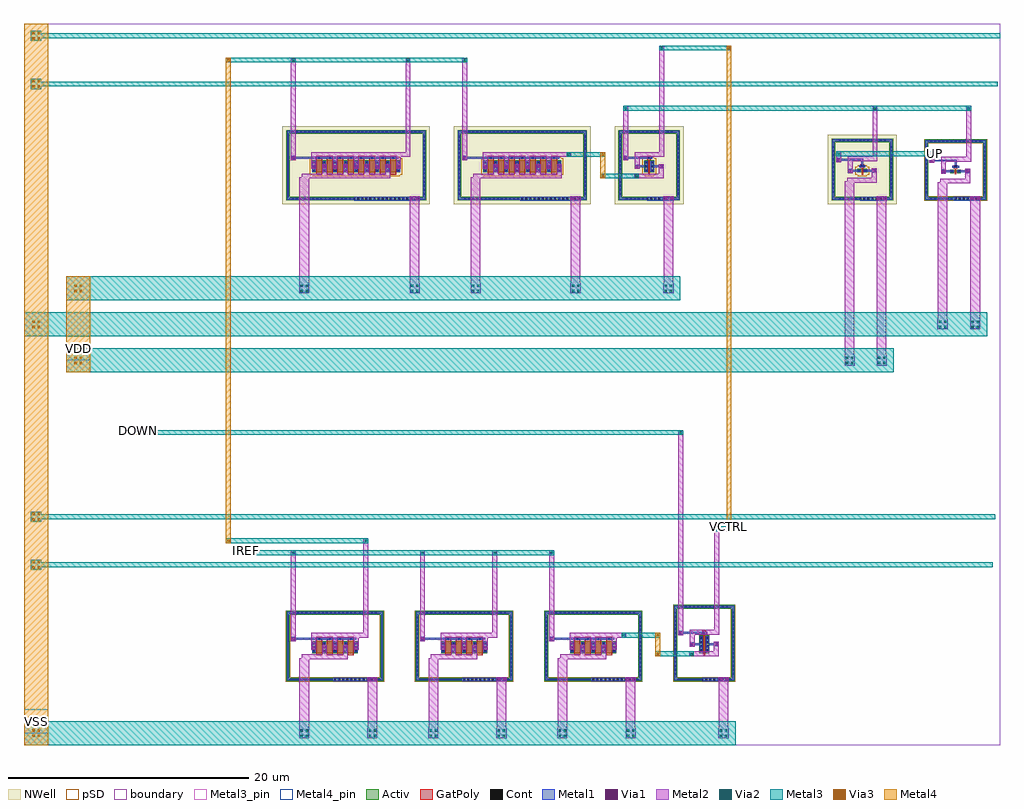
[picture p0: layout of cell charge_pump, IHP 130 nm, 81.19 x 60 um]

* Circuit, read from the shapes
.subckt charge_pump DOWN IREF UP VCTRL VDD VSS
XM1 VSS IREF cic_sg13_lv_nmos_89573d18fe2a_0/D0 VSS sg13_lv_nmos w=1u l=0.5u m=4
XM2 VSS IREF IREF VSS sg13_lv_nmos w=1u l=0.5u m=4
XM3 VSS IREF cic_sg13_lv_nmos_89573d18fe2a_2/D0 VSS sg13_lv_nmos w=1u l=0.5u m=4
XM4 cic_sg13_lv_nmos_89573d18fe2a_2/D0 DOWN VCTRL VSS sg13_lv_nmos w=1.5u l=0.13u
XM5 VSS UP cic_sg13_lv_nmos_fcc7101644fa_8/D VSS sg13_lv_nmos w=0.15u l=0.13u
XM6 VDD cic_sg13_lv_nmos_89573d18fe2a_0/D0 cic_sg13_lv_nmos_89573d18fe2a_0/D0 VDD sg13_lv_pmos w=1u l=0.5u m=8
XM7 VDD cic_sg13_lv_nmos_89573d18fe2a_0/D0 cic_sg13_lv_pmos_580c23a82176_5/D0 VDD sg13_lv_pmos w=1u l=0.5u m=7
XM8 cic_sg13_lv_pmos_580c23a82176_5/D0 cic_sg13_lv_nmos_fcc7101644fa_8/D VCTRL VDD sg13_lv_pmos w=1u l=0.13u
XM9 VDD UP cic_sg13_lv_nmos_fcc7101644fa_8/D VDD sg13_lv_pmos w=0.3u l=0.13u
.ends

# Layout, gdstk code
import gdstk
lib = gdstk.Library(unit=1e-6, precision=1e-09)
def R(c, l, rs):  # rectangles x0, y0, x1, y1
    for r in rs: c.add(gdstk.rectangle(r[:2], r[2:], *l))
def A(c, l, x, y, w, h, nx, ny, dx, dy):  # array of equal rectangles
    R(c, l, [(x+i*dx, y+j*dy, x+i*dx+w, y+j*dy+h) for i in range(nx) for j in range(ny)])
Activ = (1, 0)
GatPoly = (5, 0)
Cont = (6, 0)
Metal1 = (8, 0)
Metal2 = (10, 0)
pSD = (14, 0)
Via1 = (19, 0)
Via2 = (29, 0)
Metal3 = (30, 0)
Metal3_pin = (30, 2)
NWell = (31, 0)
Via3 = (49, 0)
Metal4 = (50, 0)
Metal4_pin = (50, 2)
boundary = (189, 4)

cic_sg13_lv_nmos_89573d1 = lib.new_cell('cic_sg13_lv_nmos_89573d18fe2a')
R(cic_sg13_lv_nmos_89573d1, Activ, [(-4.06,-2.925,4.06,-2.625), (-4.06,-2.625,-3.76,2.625), (3.76,-2.625,4.06,2.625), (-1.91,-0.595,1.91,0.405), (-4.06,2.625,4.06,2.925)])
A(cic_sg13_lv_nmos_89573d1, GatPoly, -1.57, -0.775, 0.5, 1.55, 4, 1, 0.88, 0)
A(cic_sg13_lv_nmos_89573d1, Cont, -3.48, -2.855, 0.16, 0.16, 21, 2, 0.34, 5.55)
A(cic_sg13_lv_nmos_89573d1, Cont, -3.99, -2.46, 0.16, 0.16, 1, 15, 0, 0.34)
A(cic_sg13_lv_nmos_89573d1, Cont, 3.83, -2.46, 0.16, 0.16, 1, 15, 0, 0.34)
A(cic_sg13_lv_nmos_89573d1, Cont, -1.84, -0.515, 0.16, 0.16, 5, 3, 0.88, 0.34)
A(cic_sg13_lv_nmos_89573d1, Cont, -1.4, 0.545, 0.16, 0.16, 4, 1, 0.88, 0)
A(cic_sg13_lv_nmos_89573d1, Metal1, -1.89, -0.525, 0.26, 0.86, 5, 1, 0.88, 0)
R(cic_sg13_lv_nmos_89573d1, Metal1, [(-3.99,-2.855,3.99,-2.695), (-3.99,-2.695,-3.83,2.695), (3.83,-2.695,3.99,2.695), (-1.76,0.545,1.76,0.705), (-3.99,2.695,3.99,2.855)])
R(cic_sg13_lv_nmos_89573d1, pSD, [(-4.09,-2.955,4.09,-2.595), (-4.09,-2.595,-3.73,2.595), (3.73,-2.595,4.09,2.595), (-4.09,2.595,4.09,2.955)])
R(cic_sg13_lv_nmos_89573d1, boundary, [(-3.91,-2.775,3.91,2.775)])
cic_sg13_lv_nmos_89573d1.add(gdstk.Label('B', (0,-2.775), layer=8, texttype=25))
cic_sg13_lv_nmos_89573d1.add(gdstk.Label('D0', (-1.76,-0.095), layer=8, texttype=25))
cic_sg13_lv_nmos_89573d1.add(gdstk.Label('G', (1.32,0.625), layer=8, texttype=25))
cic_sg13_lv_nmos_89573d1.add(gdstk.Label('G', (0.44,0.625), layer=8, texttype=25))
cic_sg13_lv_nmos_89573d1.add(gdstk.Label('G', (-0.44,0.625), layer=8, texttype=25))
cic_sg13_lv_nmos_89573d1.add(gdstk.Label('G', (-1.32,0.625), layer=8, texttype=25))
cic_sg13_lv_nmos_89573d1.add(gdstk.Label('S1', (-0.88,-0.095), layer=8, texttype=25))
cic_sg13_lv_nmos_89573d1.add(gdstk.Label('D2', (0,-0.095), layer=8, texttype=25))
cic_sg13_lv_nmos_89573d1.add(gdstk.Label('S3', (0.88,-0.095), layer=8, texttype=25))

cic_sg13_lv_nmos_291d3a8 = lib.new_cell('cic_sg13_lv_nmos_291d3a8e1347')
R(cic_sg13_lv_nmos_291d3a8, Activ, [(-2.555,-3.175,2.555,-2.875), (-2.555,-2.875,-2.255,2.875), (2.255,-2.875,2.555,2.875), (-0.405,-0.845,0.405,0.655), (-2.555,2.875,2.555,3.175)])
R(cic_sg13_lv_nmos_291d3a8, GatPoly, [(-0.065,-1.025,0.065,0.725), (-0.15,0.725,0.15,1.025)])
A(cic_sg13_lv_nmos_291d3a8, Cont, -1.95, -3.105, 0.16, 0.16, 12, 2, 0.34, 6.05)
A(cic_sg13_lv_nmos_291d3a8, Cont, -2.485, -2.63, 0.16, 0.16, 1, 16, 0, 0.34)
A(cic_sg13_lv_nmos_291d3a8, Cont, 2.325, -2.63, 0.16, 0.16, 1, 16, 0, 0.34)
A(cic_sg13_lv_nmos_291d3a8, Cont, -0.335, -0.685, 0.16, 0.16, 1, 4, 0, 0.34)
A(cic_sg13_lv_nmos_291d3a8, Cont, 0.175, -0.685, 0.16, 0.16, 1, 4, 0, 0.34)
R(cic_sg13_lv_nmos_291d3a8, Cont, [(-0.08,0.795,0.08,0.955)])
R(cic_sg13_lv_nmos_291d3a8, Metal1, [(-2.485,-3.105,2.485,-2.945), (-2.485,-2.945,-2.325,2.945), (2.325,-2.945,2.485,2.945), (-0.385,-0.775,-0.125,0.585), (0.125,-0.775,0.385,0.585), (-0.255,0.795,0.255,0.955), (-2.485,2.945,2.485,3.105)])
R(cic_sg13_lv_nmos_291d3a8, pSD, [(-2.585,-3.205,2.585,-2.845), (-2.585,-2.845,-2.225,2.845), (2.225,-2.845,2.585,2.845), (-2.585,2.845,2.585,3.205)])
R(cic_sg13_lv_nmos_291d3a8, boundary, [(-2.405,-3.025,2.405,3.025)])
cic_sg13_lv_nmos_291d3a8.add(gdstk.Label('B', (0,-3.025), layer=8, texttype=25))
cic_sg13_lv_nmos_291d3a8.add(gdstk.Label('D', (-0.255,-0.095), layer=8, texttype=25))
cic_sg13_lv_nmos_291d3a8.add(gdstk.Label('S', (0.255,-0.095), layer=8, texttype=25))
cic_sg13_lv_nmos_291d3a8.add(gdstk.Label('G', (0,0.875), layer=8, texttype=25))

cic_sg13_lv_pmos_d1459b2 = lib.new_cell('cic_sg13_lv_pmos_d1459b2f823a')
R(cic_sg13_lv_pmos_d1459b2, Activ, [(-5.82,-2.925,5.82,-2.625), (-5.82,-2.625,-5.52,2.625), (5.52,-2.625,5.82,2.625), (-3.67,-0.595,3.67,0.405), (-5.82,2.625,5.82,2.925)])
A(cic_sg13_lv_pmos_d1459b2, GatPoly, -3.33, -0.775, 0.5, 1.55, 8, 1, 0.88, 0)
A(cic_sg13_lv_pmos_d1459b2, Cont, -5.35, -2.855, 0.16, 0.16, 32, 2, 0.34, 5.55)
A(cic_sg13_lv_pmos_d1459b2, Cont, -5.75, -2.46, 0.16, 0.16, 1, 15, 0, 0.34)
A(cic_sg13_lv_pmos_d1459b2, Cont, 5.59, -2.46, 0.16, 0.16, 1, 15, 0, 0.34)
A(cic_sg13_lv_pmos_d1459b2, Cont, -3.6, -0.515, 0.16, 0.16, 9, 3, 0.88, 0.34)
A(cic_sg13_lv_pmos_d1459b2, Cont, -3.16, 0.545, 0.16, 0.16, 8, 1, 0.88, 0)
A(cic_sg13_lv_pmos_d1459b2, Metal1, -3.65, -0.525, 0.26, 0.86, 9, 1, 0.88, 0)
R(cic_sg13_lv_pmos_d1459b2, Metal1, [(-5.75,-2.855,5.75,-2.695), (-5.75,-2.695,-5.59,2.695), (5.59,-2.695,5.75,2.695), (-3.52,0.545,3.52,0.705), (-5.75,2.695,5.75,2.855)])
R(cic_sg13_lv_pmos_d1459b2, pSD, [(-3.63,-0.895,3.63,-0.775), (-3.85,-0.775,3.85,0.585), (-3.63,0.585,3.63,0.705)])
R(cic_sg13_lv_pmos_d1459b2, NWell, [(-6.13,-3.235,6.13,3.235)])
R(cic_sg13_lv_pmos_d1459b2, boundary, [(-5.67,-2.775,5.67,2.775)])
cic_sg13_lv_pmos_d1459b2.add(gdstk.Label('B', (0,-2.775), layer=8, texttype=25))
cic_sg13_lv_pmos_d1459b2.add(gdstk.Label('D0', (-3.52,-0.095), layer=8, texttype=25))
cic_sg13_lv_pmos_d1459b2.add(gdstk.Label('G', (3.08,0.625), layer=8, texttype=25))
cic_sg13_lv_pmos_d1459b2.add(gdstk.Label('G', (2.2,0.625), layer=8, texttype=25))
cic_sg13_lv_pmos_d1459b2.add(gdstk.Label('G', (1.32,0.625), layer=8, texttype=25))
cic_sg13_lv_pmos_d1459b2.add(gdstk.Label('G', (0.44,0.625), layer=8, texttype=25))
cic_sg13_lv_pmos_d1459b2.add(gdstk.Label('G', (-0.44,0.625), layer=8, texttype=25))
cic_sg13_lv_pmos_d1459b2.add(gdstk.Label('G', (-1.32,0.625), layer=8, texttype=25))
cic_sg13_lv_pmos_d1459b2.add(gdstk.Label('G', (-2.2,0.625), layer=8, texttype=25))
cic_sg13_lv_pmos_d1459b2.add(gdstk.Label('G', (-3.08,0.625), layer=8, texttype=25))
cic_sg13_lv_pmos_d1459b2.add(gdstk.Label('S1', (-2.64,-0.095), layer=8, texttype=25))
cic_sg13_lv_pmos_d1459b2.add(gdstk.Label('D2', (-1.76,-0.095), layer=8, texttype=25))
cic_sg13_lv_pmos_d1459b2.add(gdstk.Label('S3', (-0.88,-0.095), layer=8, texttype=25))
cic_sg13_lv_pmos_d1459b2.add(gdstk.Label('D4', (0,-0.095), layer=8, texttype=25))
cic_sg13_lv_pmos_d1459b2.add(gdstk.Label('S5', (0.88,-0.095), layer=8, texttype=25))
cic_sg13_lv_pmos_d1459b2.add(gdstk.Label('D6', (1.76,-0.095), layer=8, texttype=25))
cic_sg13_lv_pmos_d1459b2.add(gdstk.Label('S7', (2.64,-0.095), layer=8, texttype=25))

cic_sg13_lv_pmos_580c23a = lib.new_cell('cic_sg13_lv_pmos_580c23a82176')
R(cic_sg13_lv_pmos_580c23a, Activ, [(-5.38,-2.925,5.38,-2.625), (-5.38,-2.625,-5.08,2.625), (5.08,-2.625,5.38,2.625), (-3.23,-0.595,3.23,0.405), (-5.38,2.625,5.38,2.925)])
A(cic_sg13_lv_pmos_580c23a, GatPoly, -2.89, -0.775, 0.5, 1.55, 7, 1, 0.88, 0)
A(cic_sg13_lv_pmos_580c23a, Cont, -4.84, -2.855, 0.16, 0.16, 29, 2, 0.34, 5.55)
A(cic_sg13_lv_pmos_580c23a, Cont, -5.31, -2.46, 0.16, 0.16, 1, 15, 0, 0.34)
A(cic_sg13_lv_pmos_580c23a, Cont, 5.15, -2.46, 0.16, 0.16, 1, 15, 0, 0.34)
A(cic_sg13_lv_pmos_580c23a, Cont, -3.16, -0.515, 0.16, 0.16, 8, 3, 0.88, 0.34)
A(cic_sg13_lv_pmos_580c23a, Cont, -2.72, 0.545, 0.16, 0.16, 7, 1, 0.88, 0)
A(cic_sg13_lv_pmos_580c23a, Metal1, -3.21, -0.525, 0.26, 0.86, 8, 1, 0.88, 0)
R(cic_sg13_lv_pmos_580c23a, Metal1, [(-5.31,-2.855,5.31,-2.695), (-5.31,-2.695,-5.15,2.695), (5.15,-2.695,5.31,2.695), (-3.08,0.545,3.08,0.705), (-5.31,2.695,5.31,2.855)])
R(cic_sg13_lv_pmos_580c23a, pSD, [(-3.19,-0.895,3.19,-0.775), (-3.41,-0.775,3.41,0.585), (-3.19,0.585,3.19,0.705)])
R(cic_sg13_lv_pmos_580c23a, NWell, [(-5.69,-3.235,5.69,3.235)])
R(cic_sg13_lv_pmos_580c23a, boundary, [(-5.23,-2.775,5.23,2.775)])
cic_sg13_lv_pmos_580c23a.add(gdstk.Label('B', (0,-2.775), layer=8, texttype=25))
cic_sg13_lv_pmos_580c23a.add(gdstk.Label('D0', (-3.08,-0.095), layer=8, texttype=25))
cic_sg13_lv_pmos_580c23a.add(gdstk.Label('G', (2.64,0.625), layer=8, texttype=25))
cic_sg13_lv_pmos_580c23a.add(gdstk.Label('G', (1.76,0.625), layer=8, texttype=25))
cic_sg13_lv_pmos_580c23a.add(gdstk.Label('G', (0.88,0.625), layer=8, texttype=25))
cic_sg13_lv_pmos_580c23a.add(gdstk.Label('G', (0,0.625), layer=8, texttype=25))
cic_sg13_lv_pmos_580c23a.add(gdstk.Label('G', (-0.88,0.625), layer=8, texttype=25))
cic_sg13_lv_pmos_580c23a.add(gdstk.Label('G', (-1.76,0.625), layer=8, texttype=25))
cic_sg13_lv_pmos_580c23a.add(gdstk.Label('G', (-2.64,0.625), layer=8, texttype=25))
cic_sg13_lv_pmos_580c23a.add(gdstk.Label('S1', (-2.2,-0.095), layer=8, texttype=25))
cic_sg13_lv_pmos_580c23a.add(gdstk.Label('D2', (-1.32,-0.095), layer=8, texttype=25))
cic_sg13_lv_pmos_580c23a.add(gdstk.Label('S3', (-0.44,-0.095), layer=8, texttype=25))
cic_sg13_lv_pmos_580c23a.add(gdstk.Label('D4', (0.44,-0.095), layer=8, texttype=25))
cic_sg13_lv_pmos_580c23a.add(gdstk.Label('S5', (1.32,-0.095), layer=8, texttype=25))
cic_sg13_lv_pmos_580c23a.add(gdstk.Label('D6', (2.2,-0.095), layer=8, texttype=25))
cic_sg13_lv_pmos_580c23a.add(gdstk.Label('S6', (3.08,-0.095), layer=8, texttype=25))

cic_sg13_lv_pmos_4979f7b = lib.new_cell('cic_sg13_lv_pmos_4979f7b9a184')
R(cic_sg13_lv_pmos_4979f7b, Activ, [(-2.555,-2.925,2.555,-2.625), (-2.555,-2.625,-2.255,2.625), (2.255,-2.625,2.555,2.625), (-0.405,-0.595,0.405,0.405), (-2.555,2.625,2.555,2.925)])
R(cic_sg13_lv_pmos_4979f7b, GatPoly, [(-0.065,-0.775,0.065,0.475), (-0.15,0.475,0.15,0.775)])
A(cic_sg13_lv_pmos_4979f7b, Cont, -1.95, -2.855, 0.16, 0.16, 12, 2, 0.34, 5.55)
A(cic_sg13_lv_pmos_4979f7b, Cont, -2.485, -2.46, 0.16, 0.16, 1, 15, 0, 0.34)
A(cic_sg13_lv_pmos_4979f7b, Cont, 2.325, -2.46, 0.16, 0.16, 1, 15, 0, 0.34)
A(cic_sg13_lv_pmos_4979f7b, Cont, -0.335, -0.515, 0.16, 0.16, 1, 3, 0, 0.34)
A(cic_sg13_lv_pmos_4979f7b, Cont, 0.175, -0.515, 0.16, 0.16, 1, 3, 0, 0.34)
R(cic_sg13_lv_pmos_4979f7b, Cont, [(-0.08,0.545,0.08,0.705)])
R(cic_sg13_lv_pmos_4979f7b, Metal1, [(-2.485,-2.855,2.485,-2.695), (-2.485,-2.695,-2.325,2.695), (2.325,-2.695,2.485,2.695), (-0.385,-0.525,-0.125,0.335), (0.125,-0.525,0.385,0.335), (-0.255,0.545,0.255,0.705), (-2.485,2.695,2.485,2.855)])
R(cic_sg13_lv_pmos_4979f7b, pSD, [(-0.365,-0.895,0.365,-0.775), (-0.585,-0.775,0.585,0.585), (-0.365,0.585,0.365,0.705)])
R(cic_sg13_lv_pmos_4979f7b, NWell, [(-2.865,-3.235,2.865,3.235)])
R(cic_sg13_lv_pmos_4979f7b, boundary, [(-2.405,-2.775,2.405,2.775)])
cic_sg13_lv_pmos_4979f7b.add(gdstk.Label('B', (0,-2.775), layer=8, texttype=25))
cic_sg13_lv_pmos_4979f7b.add(gdstk.Label('D', (-0.255,-0.095), layer=8, texttype=25))
cic_sg13_lv_pmos_4979f7b.add(gdstk.Label('S', (0.255,-0.095), layer=8, texttype=25))
cic_sg13_lv_pmos_4979f7b.add(gdstk.Label('G', (0,0.625), layer=8, texttype=25))

cic_sg13_lv_pmos_4758ab7 = lib.new_cell('cic_sg13_lv_pmos_4758ab788aae')
R(cic_sg13_lv_pmos_4758ab7, Activ, [(-2.555,-2.575,2.555,-2.275), (-2.555,-2.275,-2.255,2.275), (2.255,-2.275,2.555,2.275), (-0.405,-0.245,0.405,0.055), (-2.555,2.275,2.555,2.575)])
R(cic_sg13_lv_pmos_4758ab7, GatPoly, [(-0.065,-0.425,0.065,0.125), (-0.15,0.125,0.15,0.425)])
A(cic_sg13_lv_pmos_4758ab7, Cont, -1.95, -2.505, 0.16, 0.16, 12, 2, 0.34, 4.85)
A(cic_sg13_lv_pmos_4758ab7, Cont, -2.485, -1.95, 0.16, 0.16, 1, 12, 0, 0.34)
A(cic_sg13_lv_pmos_4758ab7, Cont, 2.325, -1.95, 0.16, 0.16, 1, 12, 0, 0.34)
R(cic_sg13_lv_pmos_4758ab7, Cont, [(-0.335,-0.175,-0.175,-0.015), (0.175,-0.175,0.335,-0.015), (-0.08,0.195,0.08,0.355)])
R(cic_sg13_lv_pmos_4758ab7, Metal1, [(-2.485,-2.505,2.485,-2.345), (-2.485,-2.345,-2.325,2.345), (2.325,-2.345,2.485,2.345), (-0.385,-0.175,-0.125,-0.015), (0.125,-0.175,0.385,-0.015), (-0.255,0.195,0.255,0.355), (-2.485,2.345,2.485,2.505)])
R(cic_sg13_lv_pmos_4758ab7, pSD, [(-0.365,-0.545,0.365,-0.425), (-0.585,-0.425,0.585,0.235), (-0.365,0.235,0.365,0.355)])
R(cic_sg13_lv_pmos_4758ab7, NWell, [(-2.865,-2.885,2.865,2.885)])
R(cic_sg13_lv_pmos_4758ab7, boundary, [(-2.405,-2.425,2.405,2.425)])
cic_sg13_lv_pmos_4758ab7.add(gdstk.Label('B', (0,-2.425), layer=8, texttype=25))
cic_sg13_lv_pmos_4758ab7.add(gdstk.Label('D', (-0.255,-0.095), layer=8, texttype=25))
cic_sg13_lv_pmos_4758ab7.add(gdstk.Label('S', (0.255,-0.095), layer=8, texttype=25))
cic_sg13_lv_pmos_4758ab7.add(gdstk.Label('G', (0,0.275), layer=8, texttype=25))

cic_sg13_lv_nmos_fcc7101 = lib.new_cell('cic_sg13_lv_nmos_fcc7101644fa')
R(cic_sg13_lv_nmos_fcc7101, Activ, [(-2.585,-2.54,2.585,-2.24), (-2.585,-2.24,-2.285,2.24), (2.285,-2.24,2.585,2.24), (-0.435,-0.265,-0.135,-0.19), (0.135,-0.265,0.435,-0.19), (-0.435,-0.19,0.435,-0.04), (-0.435,-0.04,-0.135,0.035), (0.135,-0.04,0.435,0.035), (-2.585,2.24,2.585,2.54)])
R(cic_sg13_lv_nmos_fcc7101, GatPoly, [(-0.065,-0.37,0.065,0.105), (-0.15,0.105,0.15,0.405)])
A(cic_sg13_lv_nmos_fcc7101, Cont, -2.12, -2.47, 0.16, 0.16, 13, 2, 0.34, 4.78)
A(cic_sg13_lv_nmos_fcc7101, Cont, -2.515, -1.95, 0.16, 0.16, 1, 12, 0, 0.34)
A(cic_sg13_lv_nmos_fcc7101, Cont, 2.355, -1.95, 0.16, 0.16, 1, 12, 0, 0.34)
R(cic_sg13_lv_nmos_fcc7101, Cont, [(-0.365,-0.195,-0.205,-0.035), (0.205,-0.195,0.365,-0.035), (-0.08,0.175,0.08,0.335)])
R(cic_sg13_lv_nmos_fcc7101, Metal1, [(-2.515,-2.47,2.515,-2.31), (-2.515,-2.31,-2.355,2.31), (2.355,-2.31,2.515,2.31), (-0.415,-0.195,-0.155,-0.035), (0.155,-0.195,0.415,-0.035), (-0.285,0.175,0.285,0.335), (-2.515,2.31,2.515,2.47)])
R(cic_sg13_lv_nmos_fcc7101, pSD, [(-2.615,-2.57,2.615,-2.21), (-2.615,-2.21,-2.255,2.21), (2.255,-2.21,2.615,2.21), (-2.615,2.21,2.615,2.57)])
R(cic_sg13_lv_nmos_fcc7101, boundary, [(-2.435,-2.39,2.435,2.39)])
cic_sg13_lv_nmos_fcc7101.add(gdstk.Label('B', (0,-2.39), layer=8, texttype=25))
cic_sg13_lv_nmos_fcc7101.add(gdstk.Label('D', (-0.285,-0.115), layer=8, texttype=25))
cic_sg13_lv_nmos_fcc7101.add(gdstk.Label('S', (0.285,-0.115), layer=8, texttype=25))
cic_sg13_lv_nmos_fcc7101.add(gdstk.Label('G', (0,0.255), layer=8, texttype=25))

charge_pump = lib.new_cell('charge_pump')
A(charge_pump, Metal1, 4.21, 0.3, 3.65, 0.32, 3, 1, 10.74, 0)
A(charge_pump, Metal1, 2.45, 2.98, 0.32, 0.32, 5, 1, 0.88, 0)
A(charge_pump, Metal1, 13.19, 2.98, 0.32, 0.32, 5, 1, 0.88, 0)
A(charge_pump, Metal1, 23.93, 2.98, 0.32, 0.32, 5, 1, 0.88, 0)
A(charge_pump, Metal1, 0.75, 3.7, 0.32, 0.08, 3, 2, 10.74, 0.24)
A(charge_pump, Metal1, 0.75, 3.78, 2.38, 0.16, 3, 1, 10.74, 0)
A(charge_pump, Metal1, 2.45, 42.98, 0.32, 0.32, 9, 1, 0.88, 0)
A(charge_pump, Metal1, 16.71, 42.98, 0.32, 0.32, 8, 1, 0.88, 0)
R(charge_pump, Metal1, [(34.925,0.3,37.07,0.62), (33.925,3.23,34.245,3.31), (35.925,3.23,36.245,3.31), (33.925,3.31,34.91,3.47), (35.26,3.31,36.245,3.47), (33.925,3.47,34.245,3.55), (35.925,3.47,36.245,3.55), (32.97,4.2,33.29,4.28), (32.97,4.28,35.165,4.44), (32.97,4.44,33.29,4.52), (5.97,40.3,11.38,40.62), (19.79,40.3,24.76,40.62), (30.345,40.3,32.49,40.62), (48.075,40.3,50.22,40.62), (55.835,40.3,58.01,40.62), (54.835,42.575,55.155,42.655), (56.835,42.575,57.155,42.655), (47.075,42.63,47.395,42.71), (49.075,42.63,49.395,42.71), (54.835,42.655,55.79,42.815), (56.2,42.655,57.155,42.815), (47.075,42.71,48.06,42.87), (48.41,42.71,49.395,42.87), (54.835,42.815,55.155,42.895), (56.835,42.815,57.155,42.895), (47.075,42.87,47.395,42.95), (49.075,42.87,49.395,42.95), (29.345,42.98,29.665,43.06), (31.345,42.98,31.665,43.06), (55.915,43.025,56.075,43.555), (29.345,43.06,30.33,43.22), (30.68,43.06,31.665,43.22), (48.155,43.08,48.315,43.61), (29.345,43.22,29.665,43.3), (31.345,43.22,31.665,43.3), (53.85,43.475,54.17,43.555), (46.12,43.53,46.44,43.61), (53.85,43.555,56.075,43.715), (46.12,43.61,48.315,43.77), (0.75,43.7,1.07,43.78), (15.01,43.7,15.33,43.78), (28.39,43.7,28.71,43.78), (53.85,43.715,54.17,43.795), (46.12,43.77,46.44,43.85), (0.75,43.78,3.13,43.94), (15.01,43.78,17.39,43.94), (28.39,43.78,30.585,43.94), (0.75,43.94,1.07,44.02), (15.01,43.94,15.33,44.02), (28.39,43.94,28.71,44.02)])
A(charge_pump, Metal2, 1.41, -3.58, 0.8, 5.72, 3, 1, 10.74, 0)
A(charge_pump, Metal2, 7.08, -3.58, 0.8, 3.84, 3, 1, 10.74, 0)
A(charge_pump, Metal2, 7.06, 0.26, 0.84, 0.4, 3, 1, 10.74, 0)
A(charge_pump, Metal2, 1.41, 2.14, 4.04, 0.1, 3, 1, 10.74, 0)
A(charge_pump, Metal2, 1.61, 2.24, 3.84, 0.3, 3, 1, 10.74, 0)
A(charge_pump, Metal2, 2.41, 2.94, 0.4, 1, 3, 1, 1.76, 0)
A(charge_pump, Metal2, 13.15, 2.94, 0.4, 1, 3, 1, 1.76, 0)
A(charge_pump, Metal2, 23.89, 2.94, 0.4, 1, 3, 1, 1.76, 0)
A(charge_pump, Metal2, 0.71, 3.66, 0.4, 7.54, 3, 1, 10.74, 0)
A(charge_pump, Metal2, 2.41, 3.94, 4.72, 0.4, 3, 1, 10.74, 0)
A(charge_pump, Metal2, 3.29, 42.54, 0.4, 0.8, 4, 1, 1.76, 0)
A(charge_pump, Metal2, 17.55, 42.54, 0.4, 0.8, 4, 1, 1.76, 0)
A(charge_pump, Metal2, 2.41, 42.94, 0.4, 1, 5, 1, 1.76, 0)
A(charge_pump, Metal2, 16.67, 42.94, 0.4, 1, 4, 1, 1.76, 0)
R(charge_pump, Metal2, [(1.39,-4.42,2.23,-3.58), (7.06,-4.42,7.9,-3.58), (12.13,-4.42,12.97,-3.58), (17.8,-4.42,18.64,-3.58), (22.87,-4.42,23.71,-3.58), (28.54,-4.42,29.38,-3.58), (36.27,-4.42,37.11,-3.58), (36.29,-3.58,37.09,0.26), (36.27,0.26,37.11,0.66), (33.83,2.39,36.285,2.79), (3.29,2.54,3.69,3.34), (5.05,2.54,5.45,3.34), (14.03,2.54,14.43,3.34), (15.79,2.54,16.19,3.34), (24.77,2.54,25.17,3.34), (26.53,2.54,26.93,3.34), (35.885,2.79,36.285,3.59), (33.885,3.19,34.285,4.19), (32.93,4.16,33.33,21.2), (33.885,4.19,36.34,4.59), (6.73,4.34,7.13,12.2), (17.47,4.34,17.87,11.2), (35.94,4.59,36.34,13.2), (46.76,26.58,47.6,27.42), (49.42,26.58,50.26,27.42), (46.78,27.42,47.58,41.79), (49.44,27.42,50.24,40.26), (54.49,29.58,55.33,30.42), (57.21,29.58,58.05,30.42), (54.51,30.42,55.31,41.735), (57.23,30.42,58.03,40.26), (1.39,32.58,2.23,33.42), (10.58,32.58,11.42,33.42), (15.65,32.58,16.49,33.42), (23.96,32.58,24.8,33.42), (31.69,32.58,32.53,33.42), (1.41,33.42,2.21,42.14), (10.6,33.42,11.4,40.26), (15.67,33.42,16.47,42.14), (23.98,33.42,24.78,40.26), (31.71,33.42,32.51,40.26), (10.58,40.26,11.42,40.66), (23.96,40.26,24.8,40.66), (31.69,40.26,32.53,40.66), (49.42,40.26,50.26,40.66), (57.21,40.26,58.05,40.66), (54.51,41.735,57.195,41.835), (46.78,41.79,49.435,41.89), (54.71,41.835,57.195,42.135), (46.98,41.89,49.435,42.19), (56.795,42.135,57.195,42.935), (1.41,42.14,8.97,42.24), (15.67,42.14,23.23,42.24), (29.25,42.14,31.705,42.54), (49.035,42.19,49.435,42.99), (1.61,42.24,8.97,42.54), (15.87,42.24,23.23,42.54), (54.795,42.535,55.195,43.535), (31.305,42.54,31.705,43.34), (47.035,42.59,47.435,43.59), (29.305,42.94,29.705,43.94), (53.81,43.435,54.21,44.39), (46.08,43.49,46.48,44.39), (54.795,43.535,57.28,43.935), (47.035,43.59,49.49,43.99), (0.71,43.66,1.11,52.2), (14.97,43.66,15.37,52.2), (28.35,43.66,28.75,48.17), (56.88,43.935,57.28,48.17), (2.41,43.94,10.65,44.34), (16.67,43.94,24.03,44.34), (29.305,43.94,31.76,44.34), (49.09,43.99,49.49,48.17), (10.25,44.34,10.65,52.2), (31.36,44.34,31.76,53.2)])
A(charge_pump, Via1, 2.515, 3.045, 0.19, 0.19, 5, 1, 0.88, 0)
A(charge_pump, Via1, 13.255, 3.045, 0.19, 0.19, 5, 1, 0.88, 0)
A(charge_pump, Via1, 23.995, 3.045, 0.19, 0.19, 5, 1, 0.88, 0)
A(charge_pump, Via1, 0.815, 3.765, 0.19, 0.19, 3, 1, 10.74, 0)
A(charge_pump, Via1, 2.515, 43.045, 0.19, 0.19, 9, 1, 0.88, 0)
A(charge_pump, Via1, 16.775, 43.045, 0.19, 0.19, 8, 1, 0.88, 0)
R(charge_pump, Via1, [(7.165,0.365,7.355,0.555), (7.605,0.365,7.795,0.555), (17.905,0.365,18.095,0.555), (18.345,0.365,18.535,0.555), (28.645,0.365,28.835,0.555), (29.085,0.365,29.275,0.555), (36.375,0.365,36.565,0.555), (36.815,0.365,37.005,0.555), (33.99,3.295,34.18,3.485), (35.99,3.295,36.18,3.485), (33.035,4.265,33.225,4.455), (10.685,40.365,10.875,40.555), (11.125,40.365,11.315,40.555), (24.065,40.365,24.255,40.555), (24.505,40.365,24.695,40.555), (31.795,40.365,31.985,40.555), (32.235,40.365,32.425,40.555), (49.525,40.365,49.715,40.555), (49.965,40.365,50.155,40.555), (57.315,40.365,57.505,40.555), (57.755,40.365,57.945,40.555), (54.9,42.64,55.09,42.83), (56.9,42.64,57.09,42.83), (47.14,42.695,47.33,42.885), (49.14,42.695,49.33,42.885), (29.41,43.045,29.6,43.235), (31.41,43.045,31.6,43.235), (53.915,43.54,54.105,43.73), (46.185,43.595,46.375,43.785), (0.815,43.765,1.005,43.955), (15.075,43.765,15.265,43.955), (28.455,43.765,28.645,43.955)])
R(charge_pump, Via2, [(1.495,-4.315,1.685,-4.125), (1.935,-4.315,2.125,-4.125), (7.165,-4.315,7.355,-4.125), (7.605,-4.315,7.795,-4.125), (12.235,-4.315,12.425,-4.125), (12.675,-4.315,12.865,-4.125), (17.905,-4.315,18.095,-4.125), (18.345,-4.315,18.535,-4.125), (22.975,-4.315,23.165,-4.125), (23.415,-4.315,23.605,-4.125), (28.645,-4.315,28.835,-4.125), (29.085,-4.315,29.275,-4.125), (36.375,-4.315,36.565,-4.125), (36.815,-4.315,37.005,-4.125), (1.495,-3.875,1.685,-3.685), (1.935,-3.875,2.125,-3.685), (7.165,-3.875,7.355,-3.685), (7.605,-3.875,7.795,-3.685), (12.235,-3.875,12.425,-3.685), (12.675,-3.875,12.865,-3.685), (17.905,-3.875,18.095,-3.685), (18.345,-3.875,18.535,-3.685), (22.975,-3.875,23.165,-3.685), (23.415,-3.875,23.605,-3.685), (28.645,-3.875,28.835,-3.685), (29.085,-3.875,29.275,-3.685), (36.375,-3.875,36.565,-3.685), (36.815,-3.875,37.005,-3.685), (33.935,2.495,34.125,2.685), (28.315,4.045,28.505,4.235), (0.815,10.905,1.005,11.095), (11.555,10.905,11.745,11.095), (17.575,10.905,17.765,11.095), (22.295,10.905,22.485,11.095), (6.835,11.905,7.025,12.095), (36.045,12.905,36.235,13.095), (33.035,20.905,33.225,21.095), (46.865,26.685,47.055,26.875), (47.305,26.685,47.495,26.875), (49.525,26.685,49.715,26.875), (49.965,26.685,50.155,26.875), (46.865,27.125,47.055,27.315), (47.305,27.125,47.495,27.315), (49.525,27.125,49.715,27.315), (49.965,27.125,50.155,27.315), (54.595,29.685,54.785,29.875), (55.035,29.685,55.225,29.875), (57.315,29.685,57.505,29.875), (57.755,29.685,57.945,29.875), (54.595,30.125,54.785,30.315), (55.035,30.125,55.225,30.315), (57.315,30.125,57.505,30.315), (57.755,30.125,57.945,30.315), (1.495,32.685,1.685,32.875), (1.935,32.685,2.125,32.875), (10.685,32.685,10.875,32.875), (11.125,32.685,11.315,32.875), (15.755,32.685,15.945,32.875), (16.195,32.685,16.385,32.875), (24.065,32.685,24.255,32.875), (24.505,32.685,24.695,32.875), (31.795,32.685,31.985,32.875), (32.235,32.685,32.425,32.875), (1.495,33.125,1.685,33.315), (1.935,33.125,2.125,33.315), (10.685,33.125,10.875,33.315), (11.125,33.125,11.315,33.315), (15.755,33.125,15.945,33.315), (16.195,33.125,16.385,33.315), (24.065,33.125,24.255,33.315), (24.505,33.125,24.695,33.315), (31.795,33.125,31.985,33.315), (32.235,33.125,32.425,33.315), (29.355,42.245,29.545,42.435), (23.735,44.045,23.925,44.235), (46.185,44.095,46.375,44.285), (53.915,44.095,54.105,44.285), (28.455,47.875,28.645,48.065), (49.195,47.875,49.385,48.065), (56.985,47.875,57.175,48.065), (0.815,51.905,1.005,52.095), (10.355,51.905,10.545,52.095), (15.075,51.905,15.265,52.095), (31.465,52.905,31.655,53.095)])
R(charge_pump, Metal3, [(-21.5,-5,37.69,-3), (31.02,2.39,34.23,2.79), (28.21,3.94,31.42,4.34), (-20.92,9.58,-20.08,9.8), (-20.92,9.8,59.09,10.2), (-20.92,10.2,-20.08,10.42), (-3.2,10.8,22.59,11.2), (-4.7,11.8,7.13,12.2), (35.94,12.8,37.34,13.2), (-20.92,13.58,-20.08,13.8), (-20.92,13.8,59.29,14.2), (-20.92,14.2,-20.08,14.42), (-12.2,20.8,33.33,21.2), (-18,26,50.84,28), (-21.5,29,58.63,31), (-18,32,33.11,34), (26.44,42.14,29.65,42.54), (23.63,43.94,26.84,44.34), (46.08,43.99,54.41,44.39), (28.35,47.77,57.28,48.17), (-20.92,49.58,-20.08,49.8), (-20.92,49.8,59.49,50.2), (-20.92,50.2,-20.08,50.42), (-4.7,51.8,15.37,52.2), (31.36,52.8,37.34,53.2), (-20.92,53.58,-20.08,53.8), (-20.92,53.8,59.69,54.2), (-20.92,54.2,-20.08,54.42)])
R(charge_pump, Metal3_pin, [(54.01,43.99,54.41,44.39)])
R(charge_pump, Via3, [(-20.815,-4.315,-20.625,-4.125), (-20.375,-4.315,-20.185,-4.125), (-20.815,-3.875,-20.625,-3.685), (-20.375,-3.875,-20.185,-3.685), (31.125,2.495,31.315,2.685), (31.125,4.045,31.315,4.235), (-20.815,9.685,-20.625,9.875), (-20.375,9.685,-20.185,9.875), (-20.815,10.125,-20.625,10.315), (-20.375,10.125,-20.185,10.315), (-3.095,10.905,-2.905,11.095), (-4.595,11.905,-4.405,12.095), (37.045,12.905,37.235,13.095), (-20.815,13.685,-20.625,13.875), (-20.375,13.685,-20.185,13.875), (-20.815,14.125,-20.625,14.315), (-20.375,14.125,-20.185,14.315), (-12.095,20.905,-11.905,21.095), (-17.315,26.685,-17.125,26.875), (-16.875,26.685,-16.685,26.875), (-17.315,27.125,-17.125,27.315), (-16.875,27.125,-16.685,27.315), (-20.815,29.685,-20.625,29.875), (-20.375,29.685,-20.185,29.875), (-20.815,30.125,-20.625,30.315), (-20.375,30.125,-20.185,30.315), (-17.315,32.685,-17.125,32.875), (-16.875,32.685,-16.685,32.875), (-17.315,33.125,-17.125,33.315), (-16.875,33.125,-16.685,33.315), (26.545,42.245,26.735,42.435), (26.545,44.045,26.735,44.235), (-20.815,49.685,-20.625,49.875), (-20.375,49.685,-20.185,49.875), (-20.815,50.125,-20.625,50.315), (-20.375,50.125,-20.185,50.315), (-4.595,51.905,-4.405,52.095), (37.045,52.905,37.235,53.095), (-20.815,53.685,-20.625,53.875), (-20.375,53.685,-20.185,53.875), (-20.815,54.125,-20.625,54.315), (-20.375,54.125,-20.185,54.315)])
R(charge_pump, Metal4, [(-21.5,-5,-19.5,55), (31.02,2.39,31.42,4.34), (-3.2,10.8,-2.8,11.4), (-4.7,11.8,-4.3,52.2), (36.94,12.8,37.34,53.2), (-12.2,20.8,-11.8,21.4), (-18,26,-16,34), (26.44,42.14,26.84,44.34)])
R(charge_pump, Metal4_pin, [(-21.5,-4,-19.5,-2), (-3.2,11,-2.8,11.4), (36.94,13,37.34,13.4), (-12.2,21,-11.8,21.4), (-18,27,-16,29)])
R(charge_pump, boundary, [(-21.5,-5,59.69,55)])
charge_pump.add(gdstk.Reference(cic_sg13_lv_nmos_89573d1, (4.37,3.235)))
charge_pump.add(gdstk.Reference(cic_sg13_lv_nmos_89573d1, (15.11,3.235)))
charge_pump.add(gdstk.Reference(cic_sg13_lv_nmos_89573d1, (25.85,3.235)))
charge_pump.add(gdstk.Reference(cic_sg13_lv_nmos_291d3a8, (35.085,3.485)))
charge_pump.add(gdstk.Reference(cic_sg13_lv_pmos_d1459b2, (6.13,43.235)))
charge_pump.add(gdstk.Reference(cic_sg13_lv_pmos_580c23a, (19.95,43.235)))
charge_pump.add(gdstk.Reference(cic_sg13_lv_pmos_4979f7b, (30.505,43.235)))
charge_pump.add(gdstk.Reference(cic_sg13_lv_pmos_4758ab7, (48.235,42.885)))
charge_pump.add(gdstk.Reference(cic_sg13_lv_nmos_fcc7101, (55.995,42.85)))
charge_pump.add(gdstk.Label('VDD', (-17,28), layer=50, texttype=25))
charge_pump.add(gdstk.Label('DOWN', (-12,21.2), layer=50, texttype=25))
charge_pump.add(gdstk.Label('IREF', (-3,11.2), layer=50, texttype=25))
charge_pump.add(gdstk.Label('VCTRL', (37.14,13.2), layer=50, texttype=25))
charge_pump.add(gdstk.Label('VSS', (-20.5,-3), layer=50, texttype=25))
charge_pump.add(gdstk.Label('UP', (54.21,44.19), layer=30, texttype=25))

lib.write_gds('charge_pump.gds')
